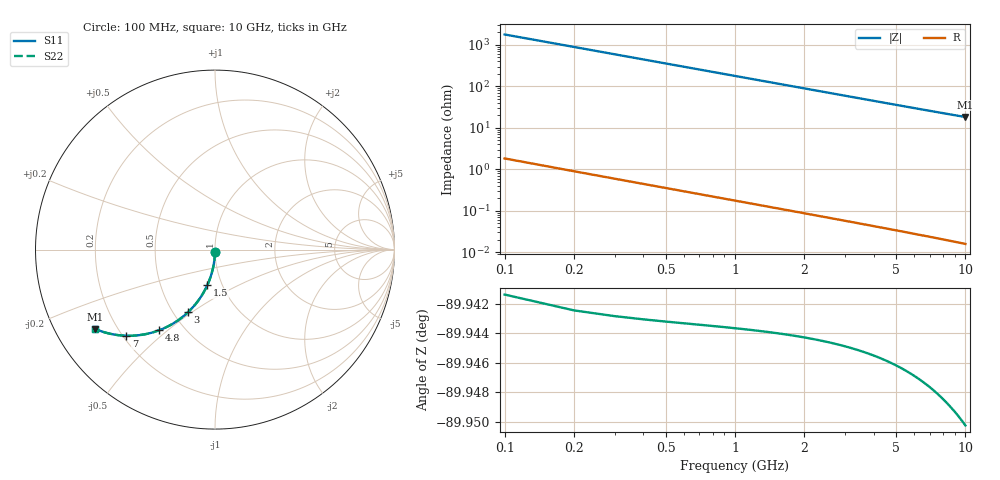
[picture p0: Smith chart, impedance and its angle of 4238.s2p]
# Hz S RI R 50.00
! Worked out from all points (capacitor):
!   100 points, 100 MHz to 10 GHz, reference 50 ohm
!   read as one part in shunt: C = 890 fF near 100 MHz
!   lowest |Z| = 18.3 ohm at 10 GHz (marker M1)
!   S11 on the Smith chart (normalised r, x): 100 MHz: 1.00, -0.03; 1.5 GHz: 0.85, -0.35; 3 GHz: 0.59, -0.48; 4.8 GHz: 0.36, -0.47; 7 GHz: 0.21, -0.39; 10 GHz: 0.12, -0.30
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1e8  -0.000124 -0.0137  0.9997 -0.0142  0.9997 -0.0142  -0.000124 -0.0137
2e8  -0.000723 -0.0274  0.9991 -0.0285  0.9991 -0.0285  -0.000723 -0.0274
3e8  -0.00171 -0.041  0.9981 -0.0427  0.9981 -0.0427  -0.00171 -0.041
4e8  -0.00308 -0.0546  0.9967 -0.0568  0.9967 -0.0568  -0.00308 -0.0546
5e8  -0.00484 -0.0682  0.995 -0.0709  0.995 -0.0709  -0.00484 -0.0682
6e8  -0.00697 -0.0816  0.9928 -0.0849  0.9928 -0.0849  -0.00697 -0.0816
7e8  -0.00948 -0.095  0.9903 -0.0988  0.9903 -0.0988  -0.00948 -0.095
9e8  -0.0156 -0.1214  0.9842 -0.1263  0.9842 -0.1263  -0.0156 -0.1214
1.2e9  -0.0274 -0.1598  0.9724 -0.1664  0.9724 -0.1664  -0.0274 -0.1598
1.5e9  -0.0422 -0.1967  0.9576 -0.205  0.9576 -0.205  -0.0422 -0.1967
1.8e9  -0.0597 -0.2317  0.9401 -0.2416  0.9401 -0.2416  -0.0597 -0.2317
2.4e9  -0.1015 -0.2951  0.8982 -0.3083  0.8982 -0.3083  -0.1015 -0.2951
3e9  -0.1502 -0.3487  0.8495 -0.3652  0.8495 -0.3652  -0.1502 -0.3487
3.4e9  -0.1852 -0.3787  0.8144 -0.3974  0.8144 -0.3974  -0.1852 -0.3787
4.1e9  -0.2488 -0.4206  0.7508 -0.4432  0.7508 -0.4432  -0.2488 -0.4206
4.8e9  -0.3126 -0.4499  0.6868 -0.4764  0.6868 -0.4764  -0.3126 -0.4499
5.1e9  -0.3395 -0.459  0.6599 -0.4872  0.6599 -0.4872  -0.3395 -0.459
5.9e9  -0.4083 -0.4747  0.591 -0.5074  0.591 -0.5074  -0.4083 -0.4747
6.7e9  -0.4716 -0.4801  0.5275 -0.5174  0.5275 -0.5174  -0.4716 -0.4801
7e9  -0.4938 -0.4799  0.5052 -0.519  0.5052 -0.519  -0.4938 -0.4799
8.4e9  -0.5857 -0.4684  0.413 -0.5155  0.413 -0.5155  -0.5857 -0.4684
1e10  -0.6688 -0.4415  0.3294 -0.4981  0.3294 -0.4981  -0.6688 -0.4415
